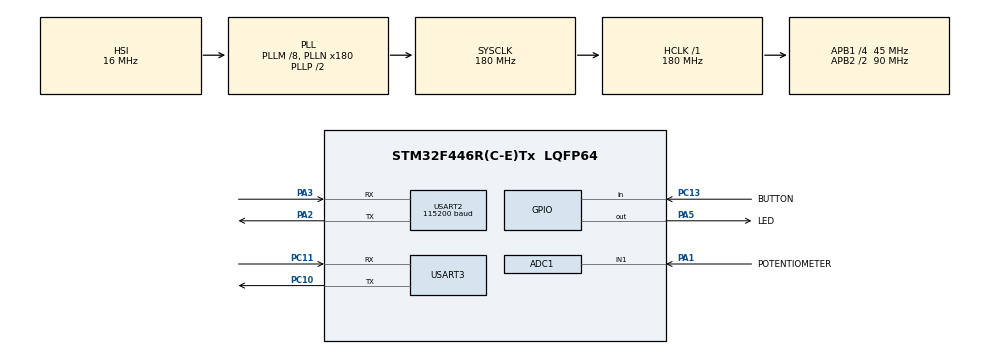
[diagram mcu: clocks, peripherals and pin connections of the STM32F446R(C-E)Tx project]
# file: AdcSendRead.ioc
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ADC1.Channel-0\#ChannelRegularConversion=ADC_CHANNEL_1
ADC1.NbrOfConversionFlag=1
ADC1.Rank-0\#ChannelRegularConversion=1
ADC1.SamplingTime-0\#ChannelRegularConversion=ADC_SAMPLETIME_3CYCLES
ADC1.master=1
Mcu.Family=STM32F4
Mcu.Name=STM32F446R(C-E)Tx
Mcu.Package=LQFP64
NVIC.PriorityGroup=NVIC_PRIORITYGROUP_4
NVIC.TIM1_BRK_TIM9_IRQn=true\:0\:0\:false\:false\:true\:true\:true\:true
NVIC.USART2_IRQn=true\:0\:0\:false\:false\:true\:true\:true\:true
PA1.GPIO_Label=POTENTIOMETER
PA1.Signal=ADCx_IN1
PA2.Mode=Asynchronous
PA2.Signal=USART2_TX
PA3.Mode=Asynchronous
PA3.Signal=USART2_RX
PA5.GPIO_Label=LED
PA5.Signal=GPIO_Output
PC10.Mode=Asynchronous
PC10.Signal=USART3_TX
PC11.Mode=Asynchronous
PC11.Signal=USART3_RX
PC13.GPIO_Label=BUTTON
PC13.Signal=GPIO_Input
ProjectManager.HeapSize=0x200
ProjectManager.StackSize=0x400
ProjectManager.TargetToolchain=STM32CubeIDE
RCC.AHBFreq_Value=180000000
RCC.APB1CLKDivider=RCC_HCLK_DIV4
RCC.APB1Freq_Value=45000000
RCC.APB1TimFreq_Value=90000000
RCC.APB2CLKDivider=RCC_HCLK_DIV2
RCC.APB2Freq_Value=90000000
RCC.APB2TimFreq_Value=180000000
RCC.CortexFreq_Value=180000000
RCC.HCLKFreq_Value=180000000
RCC.PLLM=8
RCC.PLLN=180
RCC.SYSCLKFreq_VALUE=180000000
RCC.SYSCLKSource=RCC_SYSCLKSOURCE_PLLCLK
RCC.USBFreq_Value=180000000
RCC.VCOOutputFreq_Value=360000000
SH.ADCx_IN1.0=ADC1_IN1,IN1
TIM9.Period=3665
TIM9.Prescaler=5-1
USART2.BaudRate=115200
USART2.VirtualMode=VM_ASYNC
USART3.VirtualMode=VM_ASYNC
VP_TIM9_VS_ClockSourceINT.Mode=Internal
board=custom

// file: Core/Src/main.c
/* USER CODE BEGIN Header */
/**
  ******************************************************************************
  * @file           : main.c
  * @brief          : Main program body
  ******************************************************************************
  * @attention
  *
  * Copyright (c) 2023 STMicroelectronics.
  * All rights reserved.
  *
  * This software is licensed under terms that can be found in the LICENSE file
  * in the root directory of this software component.
  * If no LICENSE file comes with this software, it is provided AS-IS.
  *
  ******************************************************************************
  */
/* USER CODE END Header */
#include "main.h"

ADC_HandleTypeDef hadc1;

TIM_HandleTypeDef htim9;

UART_HandleTypeDef huart2;
UART_HandleTypeDef huart3;

/* USER CODE BEGIN PV */
DataPacketTx dataPacketTx;
DataPacketRx dataPacketRx;

uint8_t receivedByte = 0x00;
uint8_t bytes[2] = {0x00, 0x00};

uint32_t counterTimer1 = 0;
uint32_t counterTimer2 = 0;
uint32_t counterTimer3 = 0;
uint32_t counterTimer4 = 0;

Application app;
uint8_t stateMachine = 0x00;

/* USER CODE END PV */

void SystemClock_Config(void);
static void MX_GPIO_Init(void);
static void MX_ADC1_Init(void);
static void MX_TIM9_Init(void);
static void MX_USART2_UART_Init(void);
static void MX_USART3_UART_Init(void);

/* USER CODE BEGIN 0 */

/*
 * Timer interrupt handling (100us)
 */
void HAL_TIM_PeriodElapsedCallback(TIM_HandleTypeDef *htim)
{
	if (htim == &htim9)
	{
		counterTimer1++;
		counterTimer2++;
		counterTimer3++;
		counterTimer4++;
	}
}

/*
 * Interrupt for UART RX
 */
void HAL_UART_RxCpltCallback(UART_HandleTypeDef *huart)
{
	if (huart == &huart2)
	{
		HAL_UART_Receive_IT(&huart2, &receivedByte, 1);
		dataPacketRxAppend(&dataPacketRx, receivedByte);
		receivedByte = 0x00;
	}
}

/* USER CODE END 0 */

int main(void)
{

  /* MCU Configuration--------------------------------------------------------*/

  /* Reset of all peripherals, Initializes the Flash interface and the Systick. */
  HAL_Init();

  /* Configure the system clock */
  SystemClock_Config();

  /* Initialize all configured peripherals */
  MX_GPIO_Init();
  MX_ADC1_Init();
  MX_TIM9_Init();
  MX_USART2_UART_Init();
  MX_USART3_UART_Init();
  /* USER CODE BEGIN 2 */

  HAL_TIM_Base_Start_IT(&htim9);
  dataPacketTxInit(&dataPacketTx, 0xAA, 0x55);
  dataPacketRxInit(&dataPacketRx, 0xAA, 0x55);
  applicationInit(&app, LED_GPIO_Port, LED_Pin);
  HAL_UART_Receive_IT(&huart2, &receivedByte, 1);

  /* USER CODE END 2 */

  /* Infinite loop */
  while (1)
  {

    /* USER CODE BEGIN 3 */

	  /* ============================================================================= */

	  /********************************* TOP SLOT START ********************************/

	  /* Put here the code to be executed in all cycles before the state machine */

	  /********************************** TOP SLOT END *********************************/

	  /* ============================================================================= */

	  /****************************** STATE MACHINE START ******************************/

	  switch (stateMachine)
	  {
	  	  case 0:
	  		  if (counterTimer1 >= DELAY_10_MILISECONDS)
	  		  {
	  			dataPacketRxDecode(&dataPacketRx);
	  			counterTimer1 = 0;
	  		  }
	  		  stateMachine = 1;
	  		  break;

		  case 1:
			  if (dataPacketRxGetDataPacketStatus(&dataPacketRx) == VALID_RX_DATA_PACKET)
			  {
				  uint8_t receivedCmd = dataPacketRxGetCommand(&dataPacketRx);
				  uint8_t receivedPayloadDataLength = dataPacketRxGetPayloadDataLength(&dataPacketRx);

				  if (receivedPayloadDataLength > 0)
				  {
					  uint8_t *receivedPayloadData = dataPacketRxGetPayloadData(&dataPacketRx);
					  applicationSetData(&app, receivedPayloadData, receivedPayloadDataLength);
				  }

				  applicationSetCommand(&app, receivedCmd);
				  applicationSetDecodeStatus(&app, TRUE);
				  dataPacketRxClear(&dataPacketRx);
			  }
			  stateMachine = 2;
			  break;

		  case 2:
			  if (applicationGetDecodeStatus(&app) == TRUE)
			  {
				  applicationDecodeCommand(&app);
				  applicationSetDecodeStatus(&app, FALSE);
			  }
			  stateMachine = 3;
			  break;

		  case 3:
			  if (counterTimer2 >= applicationGetBlinkDelay(&app))
			  {
				  applicationExecuteBlinkLed(&app);
				  counterTimer2 = 0;
			  }
			  stateMachine = 4;
			  break;

		  case 4:
			  if (counterTimer3 >= DELAY_50_MILISECONDS)
			  {
				  if (applicationGetAdcReadCompleteStatus(&app) == TRUE)
				  {
					  if (applicationGetEnableSendAdcRead(&app) == TRUE)
					  {
						  uint16_t adcValue = applicationGetAdcValue(&app);
						  bytes[0] = ((adcValue >> 8) & 0x00FF);
						  bytes[1] = (adcValue & 0x00FF);

						  dataPacketTxSetCommand(&dataPacketTx, 0x51);
						  dataPacketTxSetPayloadData(&dataPacketTx, bytes, 2);
						  dataPacketTxMount(&dataPacketTx);
						  dataPacketTxUartSend(&dataPacketTx, huart2);
						  dataPacketTxPayloadDataClear(&dataPacketTx);
						  dataPacketTxClear(&dataPacketTx);
					  }
					  applicationSetAdcReadCompleteStatus(&app, FALSE);
				  }
				  counterTimer3 = 0;
			  }
			  stateMachine = 5;
			  break;

		  case 5:
			  if (counterTimer4 >= DELAY_10_MILISECONDS)
			  {
				  HAL_ADC_Start(&hadc1);
				  HAL_ADC_PollForConversion(&hadc1, 100);
				  uint16_t adcValue = HAL_ADC_GetValue(&hadc1);
				  applicationSetAdcValue(&app, adcValue);
				  HAL_ADC_Stop(&hadc1);
				  applicationSetAdcReadCompleteStatus(&app, TRUE);
				  counterTimer4 = 0;
			  }
			  stateMachine = 0;
			  break;

		  default:
			  stateMachine = 0;
			  break;
	  }

	  /******************************* STATE MACHINE END *******************************/

	  /* ============================================================================= */

	  /******************************* BOTTOM SLOT START *******************************/

	  /* Put here the code to be executed in all cycles after the state machine */

	  /******************************** BOTTOM SLOT END ********************************/

	  /* ============================================================================= */
  }
  /* USER CODE END 3 */
}

void SystemClock_Config(void)
{
  RCC_OscInitTypeDef RCC_OscInitStruct = {0};
  RCC_ClkInitTypeDef RCC_ClkInitStruct = {0};

  /** Configure the main internal regulator output voltage
  */
  __HAL_RCC_PWR_CLK_ENABLE();
  __HAL_PWR_VOLTAGESCALING_CONFIG(PWR_REGULATOR_VOLTAGE_SCALE1);

  /** Initializes the RCC Oscillators according to the specified parameters
  * in the RCC_OscInitTypeDef structure.
  */
  RCC_OscInitStruct.OscillatorType = RCC_OSCILLATORTYPE_HSI;
  RCC_OscInitStruct.HSIState = RCC_HSI_ON;
  RCC_OscInitStruct.HSICalibrationValue = RCC_HSICALIBRATION_DEFAULT;
  RCC_OscInitStruct.PLL.PLLState = RCC_PLL_ON;
  RCC_OscInitStruct.PLL.PLLSource = RCC_PLLSOURCE_HSI;
  RCC_OscInitStruct.PLL.PLLM = 8;
  RCC_OscInitStruct.PLL.PLLN = 180;
  RCC_OscInitStruct.PLL.PLLP = RCC_PLLP_DIV2;
  RCC_OscInitStruct.PLL.PLLQ = 2;
  RCC_OscInitStruct.PLL.PLLR = 2;
  if (HAL_RCC_OscConfig(&RCC_OscInitStruct) != HAL_OK)
  {
    Error_Handler();
  }

  /** Activate the Over-Drive mode
  */
  if (HAL_PWREx_EnableOverDrive() != HAL_OK)
  {
    Error_Handler();
  }

  /** Initializes the CPU, AHB and APB buses clocks
  */
  RCC_ClkInitStruct.ClockType = RCC_CLOCKTYPE_HCLK|RCC_CLOCKTYPE_SYSCLK
                              |RCC_CLOCKTYPE_PCLK1|RCC_CLOCKTYPE_PCLK2;
  RCC_ClkInitStruct.SYSCLKSource = RCC_SYSCLKSOURCE_PLLCLK;
  RCC_ClkInitStruct.AHBCLKDivider = RCC_SYSCLK_DIV1;
  RCC_ClkInitStruct.APB1CLKDivider = RCC_HCLK_DIV4;
  RCC_ClkInitStruct.APB2CLKDivider = RCC_HCLK_DIV2;

  if (HAL_RCC_ClockConfig(&RCC_ClkInitStruct, FLASH_LATENCY_5) != HAL_OK)
  {
    Error_Handler();
  }
}

static void MX_ADC1_Init(void)
{

  ADC_ChannelConfTypeDef sConfig = {0};

  /** Configure the global features of the ADC (Clock, Resolution, Data Alignment and number of conversion)
  */
  hadc1.Instance = ADC1;
  hadc1.Init.ClockPrescaler = ADC_CLOCK_SYNC_PCLK_DIV4;
  hadc1.Init.Resolution = ADC_RESOLUTION_12B;
  hadc1.Init.ScanConvMode = DISABLE;
  hadc1.Init.ContinuousConvMode = DISABLE;
  hadc1.Init.DiscontinuousConvMode = DISABLE;
  hadc1.Init.ExternalTrigConvEdge = ADC_EXTERNALTRIGCONVEDGE_NONE;
  hadc1.Init.ExternalTrigConv = ADC_SOFTWARE_START;
  hadc1.Init.DataAlign = ADC_DATAALIGN_RIGHT;
  hadc1.Init.NbrOfConversion = 1;
  hadc1.Init.DMAContinuousRequests = DISABLE;
  hadc1.Init.EOCSelection = ADC_EOC_SINGLE_CONV;
  if (HAL_ADC_Init(&hadc1) != HAL_OK)
  {
    Error_Handler();
  }

  /** Configure for the selected ADC regular channel its corresponding rank in the sequencer and its sample time.
  */
  sConfig.Channel = ADC_CHANNEL_1;
  sConfig.Rank = 1;
  sConfig.SamplingTime = ADC_SAMPLETIME_3CYCLES;
  if (HAL_ADC_ConfigChannel(&hadc1, &sConfig) != HAL_OK)
  {
    Error_Handler();
  }

}

static void MX_TIM9_Init(void)
{

  TIM_ClockConfigTypeDef sClockSourceConfig = {0};

  htim9.Instance = TIM9;
  htim9.Init.Prescaler = 5-1;
  htim9.Init.CounterMode = TIM_COUNTERMODE_UP;
  htim9.Init.Period = 3665;
  htim9.Init.ClockDivision = TIM_CLOCKDIVISION_DIV1;
  htim9.Init.AutoReloadPreload = TIM_AUTORELOAD_PRELOAD_DISABLE;
  if (HAL_TIM_Base_Init(&htim9) != HAL_OK)
  {
    Error_Handler();
  }
  sClockSourceConfig.ClockSource = TIM_CLOCKSOURCE_INTERNAL;
  if (HAL_TIM_ConfigClockSource(&htim9, &sClockSourceConfig) != HAL_OK)
  {
    Error_Handler();
  }

}

static void MX_USART2_UART_Init(void)
{

  huart2.Instance = USART2;
  huart2.Init.BaudRate = 115200;
  huart2.Init.WordLength = UART_WORDLENGTH_8B;
  huart2.Init.StopBits = UART_STOPBITS_1;
  huart2.Init.Parity = UART_PARITY_NONE;
  huart2.Init.Mode = UART_MODE_TX_RX;
  huart2.Init.HwFlowCtl = UART_HWCONTROL_NONE;
  huart2.Init.OverSampling = UART_OVERSAMPLING_16;
  if (HAL_UART_Init(&huart2) != HAL_OK)
  {
    Error_Handler();
  }

}

static void MX_USART3_UART_Init(void)
{

  huart3.Instance = USART3;
  huart3.Init.BaudRate = 115200;
  huart3.Init.WordLength = UART_WORDLENGTH_8B;
  huart3.Init.StopBits = UART_STOPBITS_1;
  huart3.Init.Parity = UART_PARITY_NONE;
  huart3.Init.Mode = UART_MODE_TX_RX;
  huart3.Init.HwFlowCtl = UART_HWCONTROL_NONE;
  huart3.Init.OverSampling = UART_OVERSAMPLING_16;
  if (HAL_UART_Init(&huart3) != HAL_OK)
  {
    Error_Handler();
  }

}

static void MX_GPIO_Init(void)
{
  GPIO_InitTypeDef GPIO_InitStruct = {0};

  /* GPIO Ports Clock Enable */
  __HAL_RCC_GPIOC_CLK_ENABLE();
  __HAL_RCC_GPIOA_CLK_ENABLE();

  /*Configure GPIO pin Output Level */
  HAL_GPIO_WritePin(LED_GPIO_Port, LED_Pin, GPIO_PIN_RESET);

  /*Configure GPIO pin : BUTTON_Pin */
  GPIO_InitStruct.Pin = BUTTON_Pin;
  GPIO_InitStruct.Mode = GPIO_MODE_INPUT;
  GPIO_InitStruct.Pull = GPIO_NOPULL;
  HAL_GPIO_Init(BUTTON_GPIO_Port, &GPIO_InitStruct);

  /*Configure GPIO pin : LED_Pin */
  GPIO_InitStruct.Pin = LED_Pin;
  GPIO_InitStruct.Mode = GPIO_MODE_OUTPUT_PP;
  GPIO_InitStruct.Pull = GPIO_NOPULL;
  GPIO_InitStruct.Speed = GPIO_SPEED_FREQ_LOW;
  HAL_GPIO_Init(LED_GPIO_Port, &GPIO_InitStruct);

}

void Error_Handler(void)
{
  __disable_irq();
  while (1)
  {
  }
}
